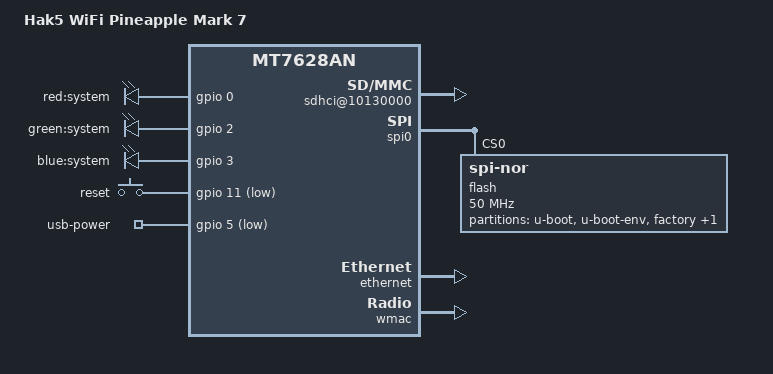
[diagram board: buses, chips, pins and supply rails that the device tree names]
// SPDX-License-Identifier: GPL-2.0-or-later OR MIT

#include "mt7628an.dtsi"
#include <dt-bindings/gpio/gpio.h>
#include <dt-bindings/input/input.h>

/ {
	compatible = "hak5,wifi-pineapple-mk7", "mediatek,mt7628an-soc";
	model = "Hak5 WiFi Pineapple Mark 7";

	aliases {
		led-boot = &led_system_blue;
		led-failsafe = &led_system_blue;
		led-upgrade = &led_system_blue;
	};

	leds {
		compatible = "gpio-leds";

		system_red {
			label = "red:system";
			gpios = <&gpio 0 GPIO_ACTIVE_HIGH>;
		};

		system_green {
			label = "green:system";
			gpios = <&gpio 2 GPIO_ACTIVE_HIGH>;
		};

		led_system_blue: system_blue {
			label = "blue:system";
			gpios = <&gpio 3 GPIO_ACTIVE_HIGH>;
			linux,default-trigger = "phy0tpt";
		};
	};

	keys {
		compatible = "gpio-keys";

		reset {
			label = "reset";
			gpios = <&gpio 11 GPIO_ACTIVE_LOW>;
			linux,code = <KEY_RESTART>;
		};
	};

	gpio-export {
		compatible = "gpio-export";
		#size-cells = <0>;

		usb-power {
			gpio-export,name = "usb-power";
			gpio-export,output = <1>;
			gpios = <&gpio 5 GPIO_ACTIVE_LOW>;
		};
	};

	sdhci@10130000 {
		compatible = "ralink,mt7620-sdhci";
		reg = <0x10130000 4000>;

		interrupt-parent = <&intc>;
		interrupts = <14>;

		status = "okay";
	};
};

&state_default {
	gpio {
		groups = "gpio", "i2c", "i2s";
		function = "gpio";
	};
};

&spi0 {
	status = "okay";

	flash@0 {
		compatible = "jedec,spi-nor";
		reg = <0>;
		spi-max-frequency = <50000000>;

		partitions {
			compatible = "fixed-partitions";
			#address-cells = <1>;
			#size-cells = <1>;

			partition@0 {
				label = "u-boot";
				reg = <0x0 0x30000>;
				read-only;
			};

			partition@30000 {
				label = "u-boot-env";
				reg = <0x30000 0x10000>;
				read-only;
			};

			factory: partition@40000 {
				label = "factory";
				reg = <0x40000 0x10000>;
				read-only;
			};

			partition@50000 {
				compatible = "denx,uimage";
				label = "firmware";
				reg = <0x50000 0x1fb0000>;
			};
		};
	};
};

&ethernet {
	status = "okay";

	mtd-mac-address = <&factory 0x4>;
};

&wmac {
	status = "okay";
};
